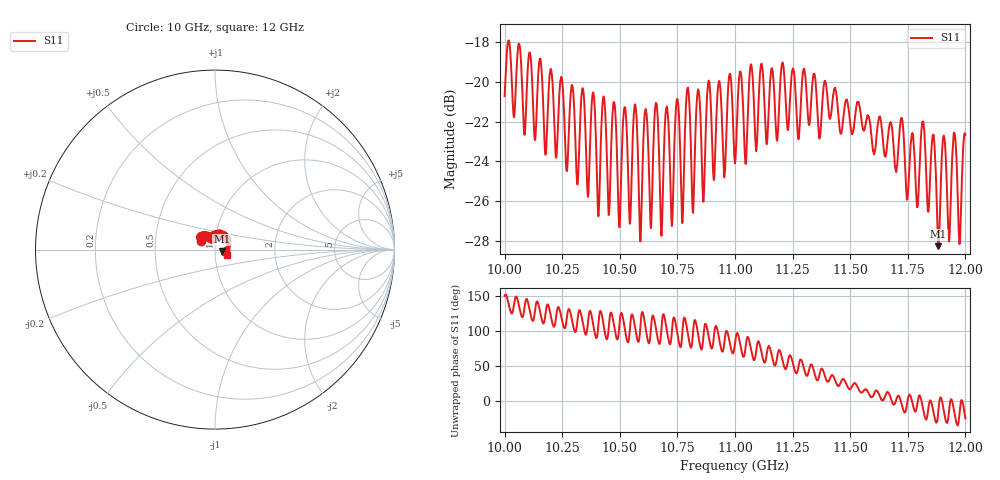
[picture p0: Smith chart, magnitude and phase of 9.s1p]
[Version] 2.0
! Rohde & Schwarz Vector Network Analyzer
! Rohde-Schwarz,ZNL20-2Port,1323001220200009,1.71.1.10-23.02.1.238
! Port Assignments:
! Nominal Port -> Actual Test Port
!  1 -> 1
! Created: GMT 2024-09-04 12:00:10
# Hz S DB R 50
[Number of Ports] 1
! freq[Hz]  S11[mag dB]  S11[ang]
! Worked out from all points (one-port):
!   2001 points, 10 GHz to 12 GHz, reference 50 ohm
!   lowest |S11| = -28.3 dB at 11.88 GHz (marker M1), VSWR 1.08, Z = 53.9 - j0.963 ohm
!   |S11| at or under -10 dB: start of sweep to end of sweep
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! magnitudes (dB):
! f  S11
! 10 GHz  -20.7
! 10.25 GHz  -20.0
! 10.36 GHz  -25.8
! 10.38 GHz  -20.5
! 10.41 GHz  -26.8
! 10.47 GHz  -21.0
! 10.5 GHz  -27.1
! 10.57 GHz  -21.1
! 10.59 GHz  -27.8
! 10.61 GHz  -21.4
! 10.63 GHz  -27.4
! 10.66 GHz  -21.1
! 10.73 GHz  -27.3
! 10.75 GHz  -20.9
! 10.77 GHz  -27.1
! 10.79 GHz  -20.3
! 10.82 GHz  -26.5
! 10.84 GHz  -20.4
! 10.86 GHz  -26.0
! 10.89 GHz  -19.9
! 11 GHz  -24.1
! 11.25 GHz  -19.4
! 11.5 GHz  -22.1
! 11.75 GHz  -25.7
! 11.82 GHz  -22.1
! 11.88 GHz  -28.3
! 11.98 GHz  -28.1
! 12 GHz  -22.7
